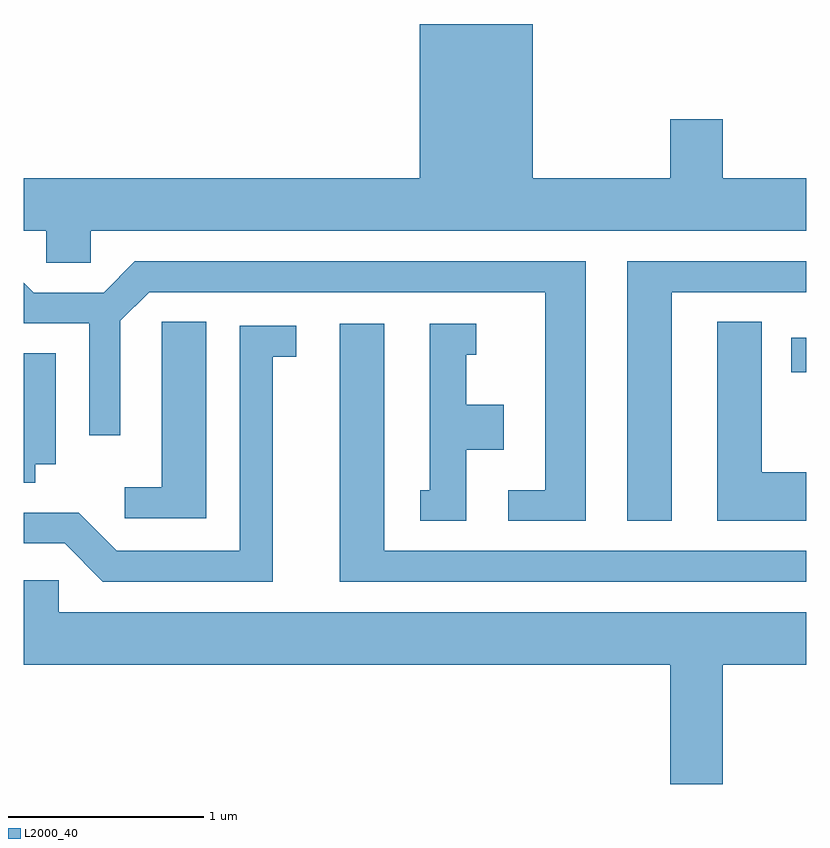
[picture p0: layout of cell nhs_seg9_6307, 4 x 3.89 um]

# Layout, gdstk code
import gdstk
lib = gdstk.Library(unit=1e-6, precision=1e-09)
def R(c, l, rs):  # rectangles x0, y0, x1, y1
    for r in rs: c.add(gdstk.rectangle(r[:2], r[2:], *l))
def P(c, l, *ps):  # polygons
    for p in ps: c.add(gdstk.Polygon(p, *l))
L2000_40 = (2000, 40)

nhs_seg9_6307 = lib.new_cell('nhs_seg9_6307')
R(nhs_seg9_6307, L2000_40, [(375.536,1986.651,375.611,1986.829)])
P(nhs_seg9_6307, L2000_40, [(371.954,1987.376),(375.611,1987.376),(375.611,1987.644),(375.184,1987.644),(375.184,1987.944),(374.916,1987.944),(374.916,1987.644),(374.214,1987.644),(374.214,1988.432),(373.636,1988.432),(373.636,1987.644),(371.611,1987.644),(371.611,1987.376),(371.726,1987.376),(371.726,1987.211),(371.954,1987.211)],
  [(374.484,1987.219),(372.179,1987.219),(372.019,1987.059),(371.662,1987.059),(371.611,1987.11),(371.611,1986.901),(371.946,1986.901),(371.946,1986.328),(372.104,1986.328),(372.104,1986.914),(372.252,1987.061),(374.276,1987.061),(374.276,1986.049),(374.088,1986.049),(374.088,1985.891),(374.484,1985.891)],
  [(374.924,1987.061),(375.611,1987.061),(375.611,1987.219),(374.696,1987.219),(374.696,1985.891),(374.924,1985.891)],
  [(372.544,1986.909),(372.316,1986.909),(372.316,1986.064),(372.128,1986.064),(372.128,1985.906),(372.544,1985.906)],
  [(375.611,1986.139),(375.384,1986.139),(375.384,1986.909),(375.156,1986.909),(375.156,1985.891),(375.611,1985.891)],
  [(375.611,1985.739),(373.454,1985.739),(373.454,1986.899),(373.226,1986.899),(373.226,1985.581),(375.611,1985.581)],
  [(373.874,1986.256),(374.064,1986.256),(374.064,1986.484),(373.874,1986.484),(373.874,1986.741),(373.923,1986.741),(373.923,1986.899),(373.686,1986.899),(373.686,1986.049),(373.638,1986.049),(373.638,1985.891),(373.874,1985.891)],
  [(372.884,1986.731),(373.003,1986.731),(373.003,1986.889),(372.716,1986.889),(372.716,1985.739),(372.087,1985.739),(371.892,1985.934),(371.611,1985.934),(371.611,1985.776),(371.819,1985.776),(372.014,1985.581),(372.884,1985.581)],
  [(371.669,1986.181),(371.774,1986.181),(371.774,1986.749),(371.611,1986.749),(371.611,1986.086),(371.669,1986.086)],
  [(375.184,1985.156),(375.611,1985.156),(375.611,1985.424),(371.789,1985.424),(371.789,1985.589),(371.611,1985.589),(371.611,1985.156),(374.916,1985.156),(374.916,1984.546),(375.184,1984.546)])

lib.write_gds('nhs_seg9_6307.gds')
